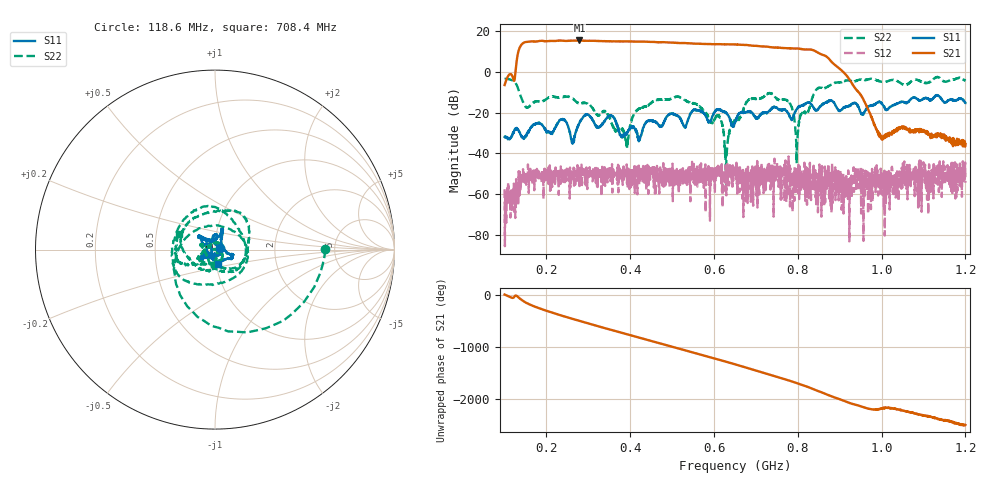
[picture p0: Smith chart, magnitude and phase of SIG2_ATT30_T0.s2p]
# Hz S DB R 50
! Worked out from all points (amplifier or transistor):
!   1601 points, 100 MHz to 1.2 GHz, reference 50 ohm
!   highest |S21| = 15.4 dB at 278.8 MHz (marker M1)
!   |S21| within 3 dB of that: 137.2 MHz to 721.2 MHz (584 MHz wide, 136 % of centre)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
!   unconditionally stable (mu >= 1): start of sweep to end of sweep
!   at 282.9 MHz: K = 29.31, MAG = 15.5 dB, |S12| = -51.0 dB
!   at 650 MHz: K = 34.37, MAG = 13.4 dB, |S12| = -50.2 dB
!   at 1.2 GHz: K = 9383.36, MAG = -33.2 dB, |S12| = -54.3 dB
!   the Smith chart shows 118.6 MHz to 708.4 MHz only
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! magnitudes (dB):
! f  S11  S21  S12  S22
! 100 MHz  -31.9  -6.5  -57.5  -3.5
! 122 MHz  -29.8  -4.2  -54.7  -4.6
! 146.1 MHz  -32.6  14.3  -51.9  -15.7
! 237.5 MHz  -23.2  15.3  -53.2  -12.4
! 262.9 MHz  -34.2  15.3  -47.9  -13.1
! 278.8 MHz  -24.9  15.4  -55.9  -15.4
! 283.6 MHz  -23.4  15.3  -45.4  -15.3
! 355.1 MHz  -21.5  14.9  -47.8  -25.2
! 390.8 MHz  -29.6  14.9  -48.7  -37.0
! 412.8 MHz  -28.0  14.8  -49.3  -19.6
! 467.1 MHz  -26.1  14.5  -50.8  -13.6
! 610.8 MHz  -18.8  13.5  -49.2  -21.7
! 629.4 MHz  -20.4  13.5  -60.5  -42.2
! 650 MHz  -24.9  13.4  -50.2  -23.8
! 734.6 MHz  -18.7  12.1  -57.6  -10.5
! 780.6 MHz  -21.8  11.5  -45.8  -15.4
! 797.8 MHz  -18.3  11.4  -46.3  -35.8
! 833.6 MHz  -16.3  10.8  -51.8  -13.4
! 914 MHz  -17.1  -1.3  -52.6  -4.3
! 996.5 MHz  -14.8  -30.7  -50.6  -4.7
! 1.017 GHz  -17.8  -30.4  -48.6  -4.4
! 1.2 GHz  -15.3  -35.3  -54.3  -4.4
